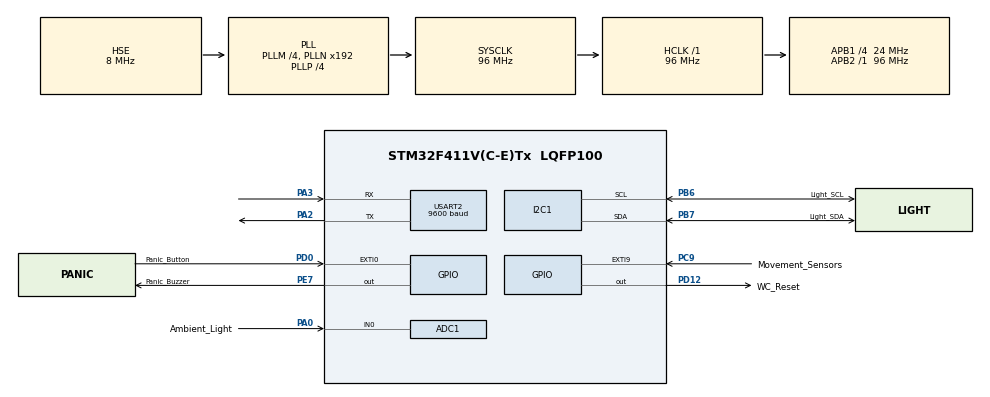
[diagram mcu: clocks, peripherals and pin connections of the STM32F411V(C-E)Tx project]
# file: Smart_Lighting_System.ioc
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ADC1.Channel-2\#ChannelRegularConversion=ADC_CHANNEL_0
ADC1.ContinuousConvMode=DISABLE
ADC1.NbrOfConversion=1
ADC1.NbrOfConversionFlag=1
ADC1.Rank-2\#ChannelRegularConversion=1
ADC1.SamplingTime-2\#ChannelRegularConversion=ADC_SAMPLETIME_480CYCLES
ADC1.master=1
Dma.Request0=USART2_TX
Dma.USART2_TX.0.Direction=DMA_MEMORY_TO_PERIPH
Dma.USART2_TX.0.FIFOMode=DMA_FIFOMODE_DISABLE
Dma.USART2_TX.0.Instance=DMA1_Stream6
Dma.USART2_TX.0.MemDataAlignment=DMA_MDATAALIGN_BYTE
Dma.USART2_TX.0.MemInc=DMA_MINC_ENABLE
Dma.USART2_TX.0.Mode=DMA_NORMAL
Dma.USART2_TX.0.PeriphDataAlignment=DMA_PDATAALIGN_BYTE
Dma.USART2_TX.0.PeriphInc=DMA_PINC_DISABLE
Dma.USART2_TX.0.Priority=DMA_PRIORITY_LOW
I2C1.I2C_Mode=I2C_Fast
Mcu.Family=STM32F4
Mcu.Name=STM32F411V(C-E)Tx
Mcu.Package=LQFP100
NVIC.DMA1_Stream6_IRQn=true\:0\:0\:false\:false\:true\:false\:true\:true
NVIC.EXTI0_IRQn=true\:0\:0\:false\:false\:true\:true\:true\:true
NVIC.EXTI9_5_IRQn=true\:0\:0\:false\:false\:true\:true\:true\:true
NVIC.I2C1_ER_IRQn=true\:0\:0\:false\:false\:true\:true\:true\:true
NVIC.I2C1_EV_IRQn=true\:0\:0\:false\:false\:true\:true\:true\:true
NVIC.PriorityGroup=NVIC_PRIORITYGROUP_0
NVIC.TIM1_BRK_TIM9_IRQn=true\:0\:0\:false\:false\:true\:true\:true\:true
NVIC.TIM1_TRG_COM_TIM11_IRQn=true\:0\:0\:false\:false\:true\:true\:true\:true
NVIC.TIM3_IRQn=true\:0\:0\:false\:false\:true\:true\:true\:true
NVIC.TIM4_IRQn=true\:0\:0\:false\:false\:true\:true\:true\:true
NVIC.USART2_IRQn=true\:0\:0\:false\:false\:true\:true\:true\:true
PA0-WKUP.GPIO_Label=Ambient_Light
PA0-WKUP.Signal=ADCx_IN0
PA2.Mode=Asynchronous
PA2.Signal=USART2_TX
PA3.Mode=Asynchronous
PA3.Signal=USART2_RX
PB6.GPIO_Label=Light_SCL
PB6.Mode=I2C
PB6.Signal=I2C1_SCL
PB7.GPIO_Label=Light_SDA
PB7.Mode=I2C
PB7.Signal=I2C1_SDA
PC14-OSC32_IN.GPIO_Label=LSE_IN
PC14-OSC32_IN.Mode=LSE-External-Oscillator
PC14-OSC32_IN.Signal=RCC_OSC32_IN
PC15-OSC32_OUT.GPIO_Label=LSE_OUT
PC15-OSC32_OUT.Mode=LSE-External-Oscillator
PC15-OSC32_OUT.Signal=RCC_OSC32_OUT
PC9.GPIO_Label=Movement_Sensors
PC9.Signal=GPXTI9
PD0.GPIO_Label=Panic_Button
PD0.GPIO_PuPd=GPIO_PULLDOWN
PD0.Signal=GPXTI0
PD12.GPIO_Label=WC_Reset
PD12.Signal=GPIO_Output
PE7.GPIO_Label=Panic_Buzzer
PE7.Signal=GPIO_Output
PH0\ -\ OSC_IN.GPIO_Label=HSE_IN
PH0\ -\ OSC_IN.Mode=HSE-External-Oscillator
PH0\ -\ OSC_IN.Signal=RCC_OSC_IN
PH1\ -\ OSC_OUT.GPIO_Label=HSE_OUT
PH1\ -\ OSC_OUT.Mode=HSE-External-Oscillator
PH1\ -\ OSC_OUT.Signal=RCC_OSC_OUT
ProjectManager.HeapSize=0x200
ProjectManager.StackSize=0x400
ProjectManager.TargetToolchain=STM32CubeIDE
RCC.48MHZClocksFreq_Value=48000000
RCC.AHBFreq_Value=96000000
RCC.APB1CLKDivider=RCC_HCLK_DIV4
RCC.APB1Freq_Value=24000000
RCC.APB1TimFreq_Value=48000000
RCC.APB2Freq_Value=96000000
RCC.APB2TimFreq_Value=96000000
RCC.CortexFreq_Value=96000000
RCC.HCLKFreq_Value=96000000
RCC.HSE_VALUE=8000000
RCC.HSI_VALUE=16000000
RCC.PLLI2SM=5
RCC.PLLI2SN=200
RCC.PLLM=4
RCC.PLLP=RCC_PLLP_DIV4
RCC.PLLQ=8
RCC.PLLSourceVirtual=RCC_PLLSOURCE_HSE
RCC.SYSCLKFreq_VALUE=96000000
RCC.SYSCLKSource=RCC_SYSCLKSOURCE_PLLCLK
RCC.VCOOutputFreq_Value=384000000
SH.ADCx_IN0.0=ADC1_IN0,IN0
TIM11.Period=4999
TIM11.Prescaler=47999
TIM3.Period=999
TIM3.Prescaler=47999
TIM4.Period=59999
TIM4.Prescaler=47999
TIM9.Period=47999
TIM9.Prescaler=19999
USART2.BaudRate=9600
USART2.Mode=MODE_TX_RX
USART2.OverSampling=UART_OVERSAMPLING_8
USART2.VirtualMode=VM_ASYNC
VP_TIM11_VS_ClockSourceINT.Mode=Enable_Timer
VP_TIM3_VS_ClockSourceINT.Mode=Internal
VP_TIM4_VS_ClockSourceINT.Mode=Internal
VP_TIM9_VS_ClockSourceINT.Mode=Internal
board=STM32F411E-DISCO

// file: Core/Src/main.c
/* USER CODE BEGIN Header */
/**
  ******************************************************************************
  * @file           : main.c
  * @brief          : Main program body
  ******************************************************************************
  * @attention
  *
  * Copyright (c) 2024 STMicroelectronics.
  * All rights reserved.
  *
  * This software is licensed under terms that can be found in the LICENSE file
  * in the root directory of this software component.
  * If no LICENSE file comes with this software, it is provided AS-IS.
  *
  ******************************************************************************
  */
/* USER CODE END Header */
#include "main.h"

/* USER CODE BEGIN Includes */
#include "panic.h"
#include "sensors_movement_sensor.h"
#include "light.h"
#include "comm.h"
/* USER CODE END Includes */

ADC_HandleTypeDef hadc1;

I2C_HandleTypeDef hi2c1;

TIM_HandleTypeDef htim3;
TIM_HandleTypeDef htim4;
TIM_HandleTypeDef htim9;
TIM_HandleTypeDef htim11;

UART_HandleTypeDef huart2;
DMA_HandleTypeDef hdma_usart2_tx;

/* USER CODE BEGIN PV */
uint8_t received[2];
/* USER CODE END PV */

void SystemClock_Config(void);
static void MX_GPIO_Init(void);
static void MX_DMA_Init(void);
static void MX_TIM3_Init(void);
static void MX_ADC1_Init(void);
static void MX_I2C1_Init(void);
static void MX_TIM9_Init(void);
static void MX_TIM4_Init(void);
static void MX_TIM11_Init(void);
static void MX_USART2_UART_Init(void);

/* USER CODE BEGIN 0 */

void HAL_GPIO_EXTI_Callback(uint16_t GPIO_Pin) {
	if(GPIO_Pin == PANIC_BUTTON_PIN) {
		if(panic_is_active()) {
			panic_button_set();
			comm_send_data(panic_packet);
		}
	}
	if(GPIO_Pin == MOVEMENT_SENSOR_PIN) {
		sensors_movement_detected();
	}
}

void HAL_TIM_PeriodElapsedCallback(TIM_HandleTypeDef *htim) {
	if(htim->Instance == TIM3) {
		panic_timer_elapsed();
	}
	if(htim->Instance == TIM4) {
		light_level_check();
	}
	if(htim->Instance == TIM9) {
		sensors_movement_detected_reset();
		HAL_TIM_Base_Stop_IT(&htim9);
	}
	if(htim->Instance == TIM11) {
		comm_send_data(periodic_packet);
	}
}

/* USER CODE END 0 */

int main(void)
{

  /* MCU Configuration--------------------------------------------------------*/

  /* Reset of all peripherals, Initializes the Flash interface and the Systick. */
  HAL_Init();

  /* Configure the system clock */
  SystemClock_Config();

  /* Initialize all configured peripherals */
  MX_GPIO_Init();
  MX_DMA_Init();
  MX_TIM3_Init();
  MX_ADC1_Init();
  MX_I2C1_Init();
  MX_TIM9_Init();
  MX_TIM4_Init();
  MX_TIM11_Init();
  MX_USART2_UART_Init();
  /* USER CODE BEGIN 2 */
  light_init();
  panic_activate();
  sensors_movement_sensor_off();
  comm_init();
  /* USER CODE END 2 */

  /* Infinite loop */
  /* USER CODE BEGIN WHILE */
  while (1)
  {
	panic_main();
	light_main();
    /* USER CODE END WHILE */

  }
}

void SystemClock_Config(void)
{
  RCC_OscInitTypeDef RCC_OscInitStruct = {0};
  RCC_ClkInitTypeDef RCC_ClkInitStruct = {0};

  /** Configure the main internal regulator output voltage
  */
  __HAL_RCC_PWR_CLK_ENABLE();
  __HAL_PWR_VOLTAGESCALING_CONFIG(PWR_REGULATOR_VOLTAGE_SCALE1);

  /** Initializes the RCC Oscillators according to the specified parameters
  * in the RCC_OscInitTypeDef structure.
  */
  RCC_OscInitStruct.OscillatorType = RCC_OSCILLATORTYPE_HSE;
  RCC_OscInitStruct.HSEState = RCC_HSE_ON;
  RCC_OscInitStruct.PLL.PLLState = RCC_PLL_ON;
  RCC_OscInitStruct.PLL.PLLSource = RCC_PLLSOURCE_HSE;
  RCC_OscInitStruct.PLL.PLLM = 4;
  RCC_OscInitStruct.PLL.PLLN = 192;
  RCC_OscInitStruct.PLL.PLLP = RCC_PLLP_DIV4;
  RCC_OscInitStruct.PLL.PLLQ = 8;
  if (HAL_RCC_OscConfig(&RCC_OscInitStruct) != HAL_OK)
  {
    Error_Handler();
  }

  /** Initializes the CPU, AHB and APB buses clocks
  */
  RCC_ClkInitStruct.ClockType = RCC_CLOCKTYPE_HCLK|RCC_CLOCKTYPE_SYSCLK
                              |RCC_CLOCKTYPE_PCLK1|RCC_CLOCKTYPE_PCLK2;
  RCC_ClkInitStruct.SYSCLKSource = RCC_SYSCLKSOURCE_PLLCLK;
  RCC_ClkInitStruct.AHBCLKDivider = RCC_SYSCLK_DIV1;
  RCC_ClkInitStruct.APB1CLKDivider = RCC_HCLK_DIV4;
  RCC_ClkInitStruct.APB2CLKDivider = RCC_HCLK_DIV1;

  if (HAL_RCC_ClockConfig(&RCC_ClkInitStruct, FLASH_LATENCY_3) != HAL_OK)
  {
    Error_Handler();
  }
}

static void MX_ADC1_Init(void)
{

  ADC_ChannelConfTypeDef sConfig = {0};

  /** Configure the global features of the ADC (Clock, Resolution, Data Alignment and number of conversion)
  */
  hadc1.Instance = ADC1;
  hadc1.Init.ClockPrescaler = ADC_CLOCK_SYNC_PCLK_DIV4;
  hadc1.Init.Resolution = ADC_RESOLUTION_12B;
  hadc1.Init.ScanConvMode = DISABLE;
  hadc1.Init.ContinuousConvMode = DISABLE;
  hadc1.Init.DiscontinuousConvMode = DISABLE;
  hadc1.Init.ExternalTrigConvEdge = ADC_EXTERNALTRIGCONVEDGE_NONE;
  hadc1.Init.ExternalTrigConv = ADC_SOFTWARE_START;
  hadc1.Init.DataAlign = ADC_DATAALIGN_RIGHT;
  hadc1.Init.NbrOfConversion = 1;
  hadc1.Init.DMAContinuousRequests = DISABLE;
  hadc1.Init.EOCSelection = ADC_EOC_SINGLE_CONV;
  if (HAL_ADC_Init(&hadc1) != HAL_OK)
  {
    Error_Handler();
  }

  /** Configure for the selected ADC regular channel its corresponding rank in the sequencer and its sample time.
  */
  sConfig.Channel = ADC_CHANNEL_0;
  sConfig.Rank = 1;
  sConfig.SamplingTime = ADC_SAMPLETIME_480CYCLES;
  if (HAL_ADC_ConfigChannel(&hadc1, &sConfig) != HAL_OK)
  {
    Error_Handler();
  }

}

static void MX_I2C1_Init(void)
{

  hi2c1.Instance = I2C1;
  hi2c1.Init.ClockSpeed = 400000;
  hi2c1.Init.DutyCycle = I2C_DUTYCYCLE_2;
  hi2c1.Init.OwnAddress1 = 0;
  hi2c1.Init.AddressingMode = I2C_ADDRESSINGMODE_7BIT;
  hi2c1.Init.DualAddressMode = I2C_DUALADDRESS_DISABLE;
  hi2c1.Init.OwnAddress2 = 0;
  hi2c1.Init.GeneralCallMode = I2C_GENERALCALL_DISABLE;
  hi2c1.Init.NoStretchMode = I2C_NOSTRETCH_DISABLE;
  if (HAL_I2C_Init(&hi2c1) != HAL_OK)
  {
    Error_Handler();
  }

}

static void MX_TIM3_Init(void)
{

  TIM_ClockConfigTypeDef sClockSourceConfig = {0};
  TIM_MasterConfigTypeDef sMasterConfig = {0};

  htim3.Instance = TIM3;
  htim3.Init.Prescaler = 47999;
  htim3.Init.CounterMode = TIM_COUNTERMODE_UP;
  htim3.Init.Period = 999;
  htim3.Init.ClockDivision = TIM_CLOCKDIVISION_DIV1;
  htim3.Init.AutoReloadPreload = TIM_AUTORELOAD_PRELOAD_DISABLE;
  if (HAL_TIM_Base_Init(&htim3) != HAL_OK)
  {
    Error_Handler();
  }
  sClockSourceConfig.ClockSource = TIM_CLOCKSOURCE_INTERNAL;
  if (HAL_TIM_ConfigClockSource(&htim3, &sClockSourceConfig) != HAL_OK)
  {
    Error_Handler();
  }
  sMasterConfig.MasterOutputTrigger = TIM_TRGO_RESET;
  sMasterConfig.MasterSlaveMode = TIM_MASTERSLAVEMODE_DISABLE;
  if (HAL_TIMEx_MasterConfigSynchronization(&htim3, &sMasterConfig) != HAL_OK)
  {
    Error_Handler();
  }

}

static void MX_TIM4_Init(void)
{

  TIM_ClockConfigTypeDef sClockSourceConfig = {0};
  TIM_MasterConfigTypeDef sMasterConfig = {0};

  htim4.Instance = TIM4;
  htim4.Init.Prescaler = 47999;
  htim4.Init.CounterMode = TIM_COUNTERMODE_UP;
  htim4.Init.Period = 59999;
  htim4.Init.ClockDivision = TIM_CLOCKDIVISION_DIV1;
  htim4.Init.AutoReloadPreload = TIM_AUTORELOAD_PRELOAD_DISABLE;
  if (HAL_TIM_Base_Init(&htim4) != HAL_OK)
  {
    Error_Handler();
  }
  sClockSourceConfig.ClockSource = TIM_CLOCKSOURCE_INTERNAL;
  if (HAL_TIM_ConfigClockSource(&htim4, &sClockSourceConfig) != HAL_OK)
  {
    Error_Handler();
  }
  sMasterConfig.MasterOutputTrigger = TIM_TRGO_RESET;
  sMasterConfig.MasterSlaveMode = TIM_MASTERSLAVEMODE_DISABLE;
  if (HAL_TIMEx_MasterConfigSynchronization(&htim4, &sMasterConfig) != HAL_OK)
  {
    Error_Handler();
  }

}

static void MX_TIM9_Init(void)
{

  TIM_ClockConfigTypeDef sClockSourceConfig = {0};

  htim9.Instance = TIM9;
  htim9.Init.Prescaler = 19999;
  htim9.Init.CounterMode = TIM_COUNTERMODE_UP;
  htim9.Init.Period = 47999;
  htim9.Init.ClockDivision = TIM_CLOCKDIVISION_DIV1;
  htim9.Init.AutoReloadPreload = TIM_AUTORELOAD_PRELOAD_DISABLE;
  if (HAL_TIM_Base_Init(&htim9) != HAL_OK)
  {
    Error_Handler();
  }
  sClockSourceConfig.ClockSource = TIM_CLOCKSOURCE_INTERNAL;
  if (HAL_TIM_ConfigClockSource(&htim9, &sClockSourceConfig) != HAL_OK)
  {
    Error_Handler();
  }

}

static void MX_TIM11_Init(void)
{

  htim11.Instance = TIM11;
  htim11.Init.Prescaler = 47999;
  htim11.Init.CounterMode = TIM_COUNTERMODE_UP;
  htim11.Init.Period = 4999;
  htim11.Init.ClockDivision = TIM_CLOCKDIVISION_DIV1;
  htim11.Init.AutoReloadPreload = TIM_AUTORELOAD_PRELOAD_DISABLE;
  if (HAL_TIM_Base_Init(&htim11) != HAL_OK)
  {
    Error_Handler();
  }

}

static void MX_USART2_UART_Init(void)
{

  huart2.Instance = USART2;
  huart2.Init.BaudRate = 9600;
  huart2.Init.WordLength = UART_WORDLENGTH_8B;
  huart2.Init.StopBits = UART_STOPBITS_1;
  huart2.Init.Parity = UART_PARITY_NONE;
  huart2.Init.Mode = UART_MODE_TX_RX;
  huart2.Init.HwFlowCtl = UART_HWCONTROL_NONE;
  huart2.Init.OverSampling = UART_OVERSAMPLING_8;
  if (HAL_UART_Init(&huart2) != HAL_OK)
  {
    Error_Handler();
  }

}

static void MX_DMA_Init(void)
{

  /* DMA controller clock enable */
  __HAL_RCC_DMA1_CLK_ENABLE();

  /* DMA interrupt init */
  /* DMA1_Stream6_IRQn interrupt configuration */
  HAL_NVIC_SetPriority(DMA1_Stream6_IRQn, 0, 0);
  HAL_NVIC_EnableIRQ(DMA1_Stream6_IRQn);

}

static void MX_GPIO_Init(void)
{
  GPIO_InitTypeDef GPIO_InitStruct = {0};

  /* GPIO Ports Clock Enable */
  __HAL_RCC_GPIOC_CLK_ENABLE();
  __HAL_RCC_GPIOH_CLK_ENABLE();
  __HAL_RCC_GPIOA_CLK_ENABLE();
  __HAL_RCC_GPIOE_CLK_ENABLE();
  __HAL_RCC_GPIOD_CLK_ENABLE();
  __HAL_RCC_GPIOB_CLK_ENABLE();

  /*Configure GPIO pin Output Level */
  HAL_GPIO_WritePin(Panic_Buzzer_GPIO_Port, Panic_Buzzer_Pin, GPIO_PIN_RESET);

  /*Configure GPIO pin Output Level */
  HAL_GPIO_WritePin(WC_Reset_GPIO_Port, WC_Reset_Pin, GPIO_PIN_RESET);

  /*Configure GPIO pin : Panic_Buzzer_Pin */
  GPIO_InitStruct.Pin = Panic_Buzzer_Pin;
  GPIO_InitStruct.Mode = GPIO_MODE_OUTPUT_PP;
  GPIO_InitStruct.Pull = GPIO_NOPULL;
  GPIO_InitStruct.Speed = GPIO_SPEED_FREQ_LOW;
  HAL_GPIO_Init(Panic_Buzzer_GPIO_Port, &GPIO_InitStruct);

  /*Configure GPIO pin : WC_Reset_Pin */
  GPIO_InitStruct.Pin = WC_Reset_Pin;
  GPIO_InitStruct.Mode = GPIO_MODE_OUTPUT_PP;
  GPIO_InitStruct.Pull = GPIO_NOPULL;
  GPIO_InitStruct.Speed = GPIO_SPEED_FREQ_LOW;
  HAL_GPIO_Init(WC_Reset_GPIO_Port, &GPIO_InitStruct);

  /*Configure GPIO pin : Movement_Sensors_Pin */
  GPIO_InitStruct.Pin = Movement_Sensors_Pin;
  GPIO_InitStruct.Mode = GPIO_MODE_IT_RISING;
  GPIO_InitStruct.Pull = GPIO_NOPULL;
  HAL_GPIO_Init(Movement_Sensors_GPIO_Port, &GPIO_InitStruct);

  /*Configure GPIO pin : Panic_Button_Pin */
  GPIO_InitStruct.Pin = Panic_Button_Pin;
  GPIO_InitStruct.Mode = GPIO_MODE_IT_RISING;
  GPIO_InitStruct.Pull = GPIO_PULLDOWN;
  HAL_GPIO_Init(Panic_Button_GPIO_Port, &GPIO_InitStruct);

  /* EXTI interrupt init*/
  HAL_NVIC_SetPriority(EXTI0_IRQn, 0, 0);
  HAL_NVIC_EnableIRQ(EXTI0_IRQn);

  HAL_NVIC_SetPriority(EXTI9_5_IRQn, 0, 0);
  HAL_NVIC_EnableIRQ(EXTI9_5_IRQn);

}

void Error_Handler(void)
{
  __disable_irq();
  while (1)
  {
  }
}
